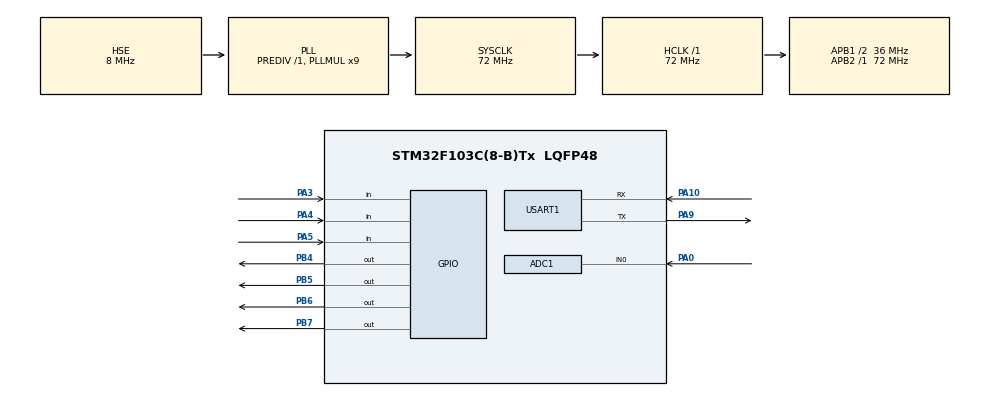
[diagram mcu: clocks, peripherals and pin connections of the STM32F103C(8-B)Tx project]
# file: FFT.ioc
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ADC1.Channel-0\#ChannelRegularConversion=ADC_CHANNEL_0
ADC1.ContinuousConvMode=DISABLE
ADC1.DataAlign=ADC_DATAALIGN_RIGHT
ADC1.DiscontinuousConvMode=DISABLE
ADC1.EnableAnalogWatchDog=false
ADC1.EnableRegularConversion=ENABLE
ADC1.ExternalTrigConv=ADC_EXTERNALTRIGCONV_T3_TRGO
ADC1.InjNumberOfConversion=0
ADC1.NbrOfConversion=1
ADC1.NbrOfConversionFlag=1
ADC1.Rank-0\#ChannelRegularConversion=1
ADC1.SamplingTime-0\#ChannelRegularConversion=ADC_SAMPLETIME_1CYCLE_5
ADC1.ScanConvMode=ADC_SCAN_DISABLE
ADC1.master=1
Dma.ADC1.0.Direction=DMA_PERIPH_TO_MEMORY
Dma.ADC1.0.Instance=DMA1_Channel1
Dma.ADC1.0.MemDataAlignment=DMA_MDATAALIGN_WORD
Dma.ADC1.0.MemInc=DMA_MINC_ENABLE
Dma.ADC1.0.Mode=DMA_CIRCULAR
Dma.ADC1.0.PeriphDataAlignment=DMA_PDATAALIGN_WORD
Dma.ADC1.0.PeriphInc=DMA_PINC_DISABLE
Dma.ADC1.0.Priority=DMA_PRIORITY_LOW
Dma.Request0=ADC1
Mcu.Family=STM32F1
Mcu.Name=STM32F103C(8-B)Tx
Mcu.Package=LQFP48
NVIC.DMA1_Channel1_IRQn=true\:0\:0\:false\:false\:true
NVIC.PriorityGroup=NVIC_PRIORITYGROUP_4
PA0-WKUP.Signal=ADCx_IN0
PA10.Mode=Asynchronous
PA10.Signal=USART1_RX
PA3.Signal=GPIO_Input
PA4.Signal=GPIO_Input
PA5.Signal=GPIO_Input
PA9.Mode=Asynchronous
PA9.Signal=USART1_TX
PB4.Signal=GPIO_Output
PB5.Signal=GPIO_Output
PB6.Signal=GPIO_Output
PB7.Signal=GPIO_Output
PD0-OSC_IN.Mode=HSE-External-Oscillator
PD0-OSC_IN.Signal=RCC_OSC_IN
PD1-OSC_OUT.Mode=HSE-External-Oscillator
PD1-OSC_OUT.Signal=RCC_OSC_OUT
ProjectManager.HeapSize=0x200
ProjectManager.StackSize=0x400
ProjectManager.TargetToolchain=MDK-ARM V5
RCC.ADCPresc=RCC_ADCPCLK2_DIV6
RCC.AHBFreq_Value=72000000
RCC.APB1CLKDivider=RCC_HCLK_DIV2
RCC.APB1Freq_Value=36000000
RCC.APB1TimFreq_Value=72000000
RCC.APB2Freq_Value=72000000
RCC.APB2TimFreq_Value=72000000
RCC.HCLKFreq_Value=72000000
RCC.PLLMUL=RCC_PLL_MUL9
RCC.PLLSourceVirtual=RCC_PLLSOURCE_HSE
RCC.SYSCLKFreq_VALUE=72000000
RCC.SYSCLKSource=RCC_SYSCLKSOURCE_PLLCLK
RCC.USBFreq_Value=72000000
SH.ADCx_IN0.0=ADC1_IN0,IN0
TIM3.Period=100
TIM3.Prescaler=72
TIM3.TIM_MasterOutputTrigger=TIM_TRGO_UPDATE
TIM3.TIM_MasterSlaveMode=TIM_MASTERSLAVEMODE_DISABLE
USART1.VirtualMode=VM_ASYNC
VP_SYS_VS_ND.Mode=No_Debug
VP_TIM3_VS_ClockSourceINT.Mode=Internal
board=FFT

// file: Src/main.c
/**
  ******************************************************************************
  * File Name          : main.c
  * Description        : Main program body
  ******************************************************************************
  *
  * COPYRIGHT(c) 2018 STMicroelectronics
  *
  * Redistribution and use in source and binary forms, with or without modification,
  * are permitted provided that the following conditions are met:
  *   1. Redistributions of source code must retain the above copyright notice,
  *      this list of conditions and the following disclaimer.
  *   2. Redistributions in binary form must reproduce the above copyright notice,
  *      this list of conditions and the following disclaimer in the documentation
  *      and/or other materials provided with the distribution.
  *   3. Neither the name of STMicroelectronics nor the names of its contributors
  *      may be used to endorse or promote products derived from this software
  *      without specific prior written permission.
  *
  * THIS SOFTWARE IS PROVIDED BY THE COPYRIGHT HOLDERS AND CONTRIBUTORS "AS IS"
  * AND ANY EXPRESS OR IMPLIED WARRANTIES, INCLUDING, BUT NOT LIMITED TO, THE
  * IMPLIED WARRANTIES OF MERCHANTABILITY AND FITNESS FOR A PARTICULAR PURPOSE ARE
  * DISCLAIMED. IN NO EVENT SHALL THE COPYRIGHT HOLDER OR CONTRIBUTORS BE LIABLE
  * FOR ANY DIRECT, INDIRECT, INCIDENTAL, SPECIAL, EXEMPLARY, OR CONSEQUENTIAL
  * DAMAGES (INCLUDING, BUT NOT LIMITED TO, PROCUREMENT OF SUBSTITUTE GOODS OR
  * SERVICES; LOSS OF USE, DATA, OR PROFITS; OR BUSINESS INTERRUPTION) HOWEVER
  * CAUSED AND ON ANY THEORY OF LIABILITY, WHETHER IN CONTRACT, STRICT LIABILITY,
  * OR TORT (INCLUDING NEGLIGENCE OR OTHERWISE) ARISING IN ANY WAY OUT OF THE USE
  * OF THIS SOFTWARE, EVEN IF ADVISED OF THE POSSIBILITY OF SUCH DAMAGE.
  *
  ******************************************************************************
  */
#include "main.h"
#include "stm32f1xx_hal.h"
#include "adc.h"
#include "dma.h"
#include "tim.h"
#include "usart.h"
#include "gpio.h"

/* USER CODE BEGIN Includes */
#include "stm32_dsp.h"
#include "table_fft.h"
#include "math.h"
#include "oled.h"
#include "config.h"
#include "bg.h"
/* USER CODE END Includes */

/* USER CODE BEGIN PV */
/* Private variables ---------------------------------------------------------*/
#define NPT 256
#define PI2 6.28318530717959
//采样率计算
//分辨率：Fs/NPT
//#define Fs	10000
#define Fs	9984
//取9984能出来整数的分辨率 9984/256 = 39Hz

/* USER CODE END PV */

void SystemClock_Config(void);
void Error_Handler(void);

/* USER CODE BEGIN PFP */
/* Private function prototypes -----------------------------------------------*/
void Creat_Single(void);
void GetPowerMag(void);
void Single_Get(void);
void display1(void);
void display2(void);
void Key_Scan(void);
/* USER CODE END PFP */

/* USER CODE BEGIN 0 */
uint32_t adc_buf[NPT]={0};

long lBufInArray[NPT];
long lBufOutArray[NPT/2];
long lBufMagArray[NPT/2];

uint8_t prt = 10;	            //量化显示的比例
#define SHOW_NUM 4				//显示函数的个数
uint8_t display_num = 2;	    //控制显示方式的
uint8_t auto_display_flag = 0;	//自动切换显示标志 1：自动切换 0:手动
uint8_t fall_pot[128];	        //记录下落点的坐标

#define SHOW_NUM_MAX  50        //比较最大值adc采样采样次数
uint8_t show_num_count = 0;     //采样计数
long    show_max_f = 0;         //每n次adc采样比较的最大值

/* USER CODE END 0 */

int main(void)
{

  /* USER CODE BEGIN 1 */
	uint16_t i = 0;
  /* USER CODE END 1 */

  /* MCU Configuration----------------------------------------------------------*/

  /* Reset of all peripherals, Initializes the Flash interface and the Systick. */
  HAL_Init();

  /* Configure the system clock */
  SystemClock_Config();

  /* Initialize all configured peripherals */
  MX_GPIO_Init();
  MX_DMA_Init();
  MX_USART1_UART_Init();
  MX_ADC1_Init();
  MX_TIM3_Init();

  /* USER CODE BEGIN 2 */
	printf("uart test! \r\n");

	/*初始化显示*/
	GUI_Initialize();
	/*设置前景色和背景色 这里用1和0代替*/
	GUI_SetColor(1,0);
	//GUI_LoadPic(0,0,(uint8_t *)&gImage_bg,128,64);
	GUI_PutString(20,32,gTITLE_bg);
	GUI_Exec();
	HAL_Delay(3000);

	//初始化下落点 把下落的点 初始化为最底部显示
	for(i=0;i<128;i++)
		fall_pot[i] = 63;

	/*启动ADC的DMA传输 配合下面定时器来触发ADC转换*/
	HAL_ADC_Start_DMA(&hadc1, adc_buf, NPT);
	/*开启定时器 用溢出事件来触发ADC转换*/
	HAL_TIM_Base_Start(&htim3);

  /* USER CODE END 2 */

  /* Infinite loop */
  while (1)
  {

  /* USER CODE BEGIN 3 */
		Key_Scan();
  }
  /* USER CODE END 3 */

}

/** System Clock Configuration
*/
void SystemClock_Config(void)
{

  RCC_OscInitTypeDef RCC_OscInitStruct;
  RCC_ClkInitTypeDef RCC_ClkInitStruct;
  RCC_PeriphCLKInitTypeDef PeriphClkInit;

    /**Initializes the CPU, AHB and APB busses clocks
    */
  RCC_OscInitStruct.OscillatorType = RCC_OSCILLATORTYPE_HSE;
  RCC_OscInitStruct.HSEState = RCC_HSE_ON;
  RCC_OscInitStruct.HSEPredivValue = RCC_HSE_PREDIV_DIV1;
  RCC_OscInitStruct.HSIState = RCC_HSI_ON;
  RCC_OscInitStruct.PLL.PLLState = RCC_PLL_ON;
  RCC_OscInitStruct.PLL.PLLSource = RCC_PLLSOURCE_HSE;
  RCC_OscInitStruct.PLL.PLLMUL = RCC_PLL_MUL9;
  if (HAL_RCC_OscConfig(&RCC_OscInitStruct) != HAL_OK)
  {
    Error_Handler();
  }

    /**Initializes the CPU, AHB and APB busses clocks
    */
  RCC_ClkInitStruct.ClockType = RCC_CLOCKTYPE_HCLK|RCC_CLOCKTYPE_SYSCLK
                              |RCC_CLOCKTYPE_PCLK1|RCC_CLOCKTYPE_PCLK2;
  RCC_ClkInitStruct.SYSCLKSource = RCC_SYSCLKSOURCE_PLLCLK;
  RCC_ClkInitStruct.AHBCLKDivider = RCC_SYSCLK_DIV1;
  RCC_ClkInitStruct.APB1CLKDivider = RCC_HCLK_DIV2;
  RCC_ClkInitStruct.APB2CLKDivider = RCC_HCLK_DIV1;

  if (HAL_RCC_ClockConfig(&RCC_ClkInitStruct, FLASH_LATENCY_2) != HAL_OK)
  {
    Error_Handler();
  }

  PeriphClkInit.PeriphClockSelection = RCC_PERIPHCLK_ADC;
  PeriphClkInit.AdcClockSelection = RCC_ADCPCLK2_DIV6;
  if (HAL_RCCEx_PeriphCLKConfig(&PeriphClkInit) != HAL_OK)
  {
    Error_Handler();
  }

    /**Configure the Systick interrupt time
    */
  HAL_SYSTICK_Config(HAL_RCC_GetHCLKFreq()/1000);

    /**Configure the Systick
    */
  HAL_SYSTICK_CLKSourceConfig(SYSTICK_CLKSOURCE_HCLK);

  /* SysTick_IRQn interrupt configuration */
  HAL_NVIC_SetPriority(SysTick_IRQn, 0, 0);
}

/* USER CODE BEGIN 4 */
/************FFT相关*****************/
//测试用 生成一个信号
void Creat_Single(void)
{
	u16 i = 0;
	float fx=0.0;

	for(i=0; i<NPT; i++)
	{
		fx = 2048+2048*sin(PI2 * i * 200.0 / Fs)+
				 3100*sin(PI2 * i * 502.0 / Fs)+
				 1300*sin(PI2 * i * 990.0 / Fs);
		lBufInArray[i] = ((signed short)fx) << 16;
	}
}
//获取FFT后的直流分量
void GetPowerMag(void)
{
    signed short lX,lY;
    float X,Y,Mag;
    unsigned short i;
    for(i=0; i<NPT/2; i++)
    {
        lX  = (lBufOutArray[i] << 16) >> 16;
        lY  = (lBufOutArray[i] >> 16);

				//除以32768再乘65536是为了符合浮点数计算规律
        X = NPT * ((float)lX) / 32768;
        Y = NPT * ((float)lY) / 32768;
        Mag = sqrt(X * X + Y * Y)*1.0/ NPT;
        if(i == 0)
            lBufMagArray[i] = (unsigned long)(Mag * 32768);
        else
            lBufMagArray[i] = (unsigned long)(Mag * 65536);
    }
}
/*柱状显示*/
void display1(void)
{
	uint16_t i = 0;
	uint8_t x = 0;
	uint8_t y = 0;
	long lBufMagArray_all = 0;
	char show_text[32] = {0};

	/*******************显示*******************/
	GUI_ClearSCR();
	for(i = 0; i < 32; i++)	//间隔的取32个频率出来显示
	{
		x = (i<<2);	//i*4
		y = 63-(lBufMagArray[x+1]/prt)-2;	//加1是为了丢掉第一个直流分量
		if(y>63) y = 63;

		GUI_LineWith(x,y,x,63,3,1);

		//画下落的点
		if(fall_pot[i]>y) fall_pot[i] = y;
		else
		{
				if(fall_pot[i]>63) fall_pot[i]=63;
				GUI_LineWith(x,fall_pot[i],x,fall_pot[i]+3,3,1);
				fall_pot[i] += 2 ;
		}

		lBufMagArray_all += lBufMagArray[i];
	}

	sprintf(show_text, "frequency : %.2f", (float)lBufMagArray_all/32);
	GUI_PutString(0,0, show_text);

	GUI_Exec();
}
/*单柱状显示*/
void display2(void)
{
	uint16_t i = 0;
	uint8_t y = 0;
	//long lBufMagArray_all = 0;
	long show_current_max = 0;
	char show_text[32] = {0};

	/*******************显示*******************/
	GUI_ClearSCR();
	for(i = 1; i < 128; i++)
	{
		y = 63-(lBufMagArray[i]/prt)-2;
		if(y>63) y = 63;

		GUI_RLine(i,y,63,1);
		//画下落的点
		if(fall_pot[i]>y) fall_pot[i] = y;
		else
		{
				if(fall_pot[i]>63) fall_pot[i]=63;
				GUI_RLine(i,fall_pot[i],fall_pot[i]+1,1);
				fall_pot[i] += 2 ;
		}

		//lBufMagArray_all += lBufMagArray[i];
		if(show_current_max < lBufMagArray[i])
			show_current_max = lBufMagArray[i];
	}

	//sprintf(show_text, "frequency : %.2f", (float)lBufMagArray_all/127);
	if(show_num_count++ > SHOW_NUM_MAX)
	{
		show_num_count = 0;
		show_max_f = 0;
	}
	if(show_max_f < show_current_max)
		show_max_f = show_current_max;
	sprintf(show_text, "cur:%ldHz | max:%ldHz", show_current_max, show_max_f);
	GUI_PutString(0,0, show_text);

	//if(lBufMagArray_current_max > 100)
	//	my_delay_nms(1000);

	GUI_Exec();
}
/*柱状显示 中间对称*/
void display3(void)
{
	uint16_t i = 0;
	uint8_t y = 0;

	/*******************显示*******************/
	GUI_ClearSCR();
	for(i = 0; i < 127; i++)
	{
		y = 31-(lBufMagArray[i+1]/prt)-2;	//加1是为了丢掉第一个直流分量
		if(y>31) y = 31;

		GUI_RLine(i,32,y,1);
		GUI_RLine(i,32,63-y,1);

		//画下落的点
		if(fall_pot[i]>y) fall_pot[i] = y;
		else
		{
				if(fall_pot[i]>30) fall_pot[i]=30;
				GUI_RLine(i,fall_pot[i],fall_pot[i]+1,1);
				GUI_RLine(i,63-fall_pot[i],63-(fall_pot[i]+1),1);
				fall_pot[i] += 2 ;
		}
	}
	GUI_Exec();
}
/*单柱状显示 中间对称*/
void display4(void)
{
	uint16_t i = 0;
	uint8_t x = 0;
	uint8_t y = 0;

	/*******************显示*******************/
	GUI_ClearSCR();
	for(i = 0; i < 32; i++)	//间隔的取32个频率出来显示
	{
		x = (i<<2);	//i*4
		y = 31-(lBufMagArray[x+1]/prt)-2;	//加1是为了丢掉第一个直流分量
		if(y>31) y = 31;

		GUI_LineWith(x,y,x,32,3,1);
		GUI_LineWith(x,63-y,x,32,3,1);

		//画下落的点
		if(fall_pot[i]>y) fall_pot[i] = y;
		else
		{
				if(fall_pot[i]>31) fall_pot[i]=31;
				GUI_LineWith(x,fall_pot[i],x,fall_pot[i]+3,3,1);
				GUI_LineWith(x,63 - fall_pot[i],x,63 - fall_pot[i]-3,3,1);
				fall_pot[i] += 2 ;
		}
	}
	GUI_Exec();
}

//ADC DMA传输中断
void HAL_ADC_ConvCpltCallback(ADC_HandleTypeDef* hadc)
{
	uint16_t i = 0;
	static uint16_t num = 0;

//	printf("adc dma interrupt \r\n");
	HAL_ADC_Stop_DMA(&hadc1);							         //完成一次测量 关闭DMA传输

	//填充数组
	for(i=0;i<NPT;i++)
		lBufInArray[i] = ((signed short)(adc_buf[i]-2048)) << 16;//这里因为单片机的ADC只能测正的电压 所以需要前级加直流偏执
	//加入直流偏执后 软件上减去2048即一半 达到负半周期测量的目的
	//cr4_fft_1024_stm32(lBufOutArray, lBufInArray, NPT);		 //FFT变换
	cr4_fft_256_stm32(lBufOutArray, lBufInArray, NPT);
	GetPowerMag();												 //取直流分量对应的AD值
//	//打印出来测试
//	for(i=0;i<NPT/2;i++)
//		printf("i:%3d, f:%.2f, Power:%10d\r\n", i, (float)i*Fs/NPT, lBufMagArray[i]);

	//自动显示
	if(auto_display_flag == 1)
	{
		if(num>300)
		{
			num = 0;
			display_num ++;
			if(display_num>SHOW_NUM) display_num = 1;
		}
	}
	num++;
	//显示
	switch(display_num)
	{
		case 1:
			display1();
			break;
		case 2:
			display2();
			break;
		case 3:
			display3();
			break;
		case 4:
			display4();
			break;
		default:
			display3();
			break;
	}
	HAL_ADC_Start_DMA(&hadc1, adc_buf, NPT);
}

#define K1 HAL_GPIO_ReadPin(GPIOA,GPIO_PIN_3)
#define K2 HAL_GPIO_ReadPin(GPIOA,GPIO_PIN_4)
#define K3 HAL_GPIO_ReadPin(GPIOA,GPIO_PIN_5)

void Key_Scan(void)
{
	static uint8_t mode_num = 0;
	if(K1 == RESET)
	{
		HAL_Delay(10);
		if(K1 == RESET)
		{
			while(!K1);
			mode_num=!mode_num;
			if(mode_num == 1) //自动显示模式
			{
				auto_display_flag = 1;
				GUI_PutString(0,0,"Auto");
				GUI_Exec();
			}
			else							//正常显示模式 手动切换效果
			{
				auto_display_flag = 0;
				GUI_PutString(0,0,"Manual");
				GUI_Exec();
			}
		}
	}
	if(K2 == RESET)
	{
		HAL_Delay(10);
		if(K2 == RESET)
		{
			while(!K2);
			if(mode_num == 0)	//手动模式
			{
				display_num ++;
				if(display_num > SHOW_NUM) display_num = 1;
			}
		}
	}
	if(K3 == RESET)
	{
		HAL_Delay(10);
		if(K3 == RESET)
		{
			while(!K3);
			if(mode_num == 0)	//手动模式
			{
				if(display_num == 1) display_num = SHOW_NUM+1;
				display_num --;
			}
		}
	}
}
/* USER CODE END 4 */

void Error_Handler(void)
{
  while(1)
  {
  }
}

/************************ (C) COPYRIGHT STMicroelectronics *****END OF FILE****/
